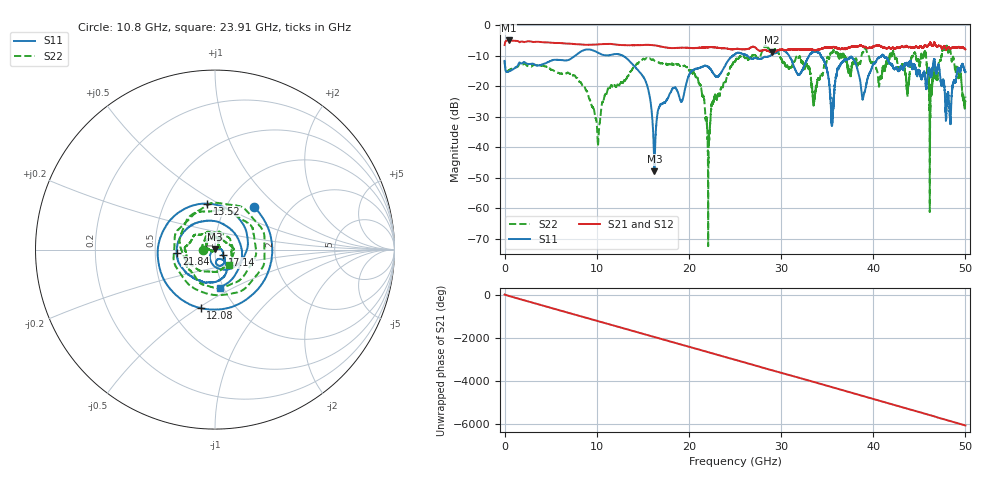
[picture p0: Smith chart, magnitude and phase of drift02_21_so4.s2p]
!Created with skrf (http://scikit-rf.org).
# Hz S RI R 50.0
!freq ReS11 ImS11 ReS21 ImS21 ReS12 ImS12 ReS22 ImS22
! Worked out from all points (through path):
!   10001 points, 300 kHz to 50 GHz, reference 50 ohm
!   highest |S21| = -5.04 dB at 430.3 MHz (marker M1); lowest = -8.9 dB at 28.98 GHz (marker M2)
!   group delay of S21, straight-line fit = 336 ps
!   lowest |S11| = -47.8 dB at 16.25 GHz (marker M3), VSWR 1.01, Z = 49.8 + j0.34 ohm
!   |S11| at or under -10 dB: start of sweep to 7.668 GHz; 12.83 GHz to 24.78 GHz (11.95 GHz wide, 63.6 % of centre); 41.13 GHz to end of sweep (the widest 3 of 11)
!   |S22| runs from -72.4 to -6.7 dB; largest |S21 - S12| = 0.032
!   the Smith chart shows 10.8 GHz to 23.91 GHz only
!   S11 on the Smith chart (normalised r, x): 10.8 GHz: 1.35, +0.71; 12.08 GHz: 0.70, -0.51; 13.52 GHz: 0.81, +0.44; 17.14 GHz: 1.09, -0.06; 21.84 GHz: 0.65, -0.03; 23.91 GHz: 0.96, -0.43
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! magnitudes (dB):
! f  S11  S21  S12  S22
! 300 kHz  -11.7  -6.5  -6.5  -11.7
! 430.3 MHz  -15.2  -5.0  -5.1  -14.9
! 8.335 GHz  -8.6  -6.4  -6.4  -19.1
! 10.11 GHz  -9.0  -6.3  -6.3  -38.3
! 10.8 GHz  -9.9  -6.2  -6.2  -23.8
! 12.08 GHz  -9.5  -6.4  -6.4  -20.3
! 13.52 GHz  -11.7  -6.6  -6.6  -16.1
! 16.25 GHz  -47.8  -6.6  -6.6  -11.7
! 16.67 GHz  -27.6  -6.8  -6.8  -12.2
! 17.14 GHz  -25.7  -7.1  -7.1  -12.5
! 21.84 GHz  -13.4  -7.4  -7.4  -31.0
! 23.91 GHz  -13.4  -7.6  -7.6  -18.6
! 25 GHz  -9.6  -7.9  -7.9  -11.9
! 28.98 GHz  -9.8  -8.9  -8.9  -8.1
! 33.34 GHz  -9.1  -8.0  -8.0  -20.2
! 35.53 GHz  -31.7  -7.3  -7.3  -9.1
! 36.8 GHz  -11.9  -7.9  -7.8  -10.0
! 41.67 GHz  -11.9  -7.4  -7.5  -11.8
! 45.51 GHz  -15.6  -7.0  -7.0  -9.8
! 46.25 GHz  -17.2  -6.1  -6.1  -22.1
! 48.13 GHz  -22.0  -7.2  -7.1  -9.1
! 50 GHz  -15.4  -7.9  -7.9  -23.4
